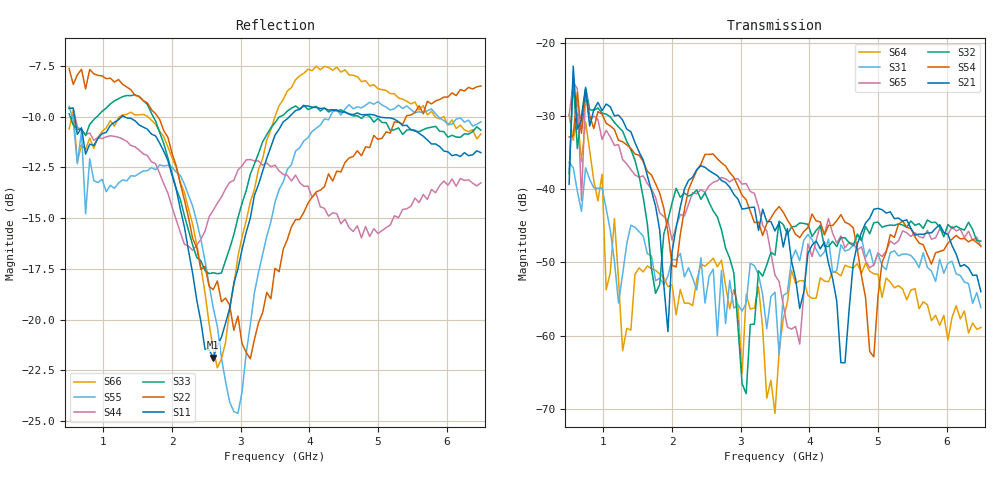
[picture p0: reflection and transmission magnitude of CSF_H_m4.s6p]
!Keysight Technologies,M9804A,MY58100912,A.14.10.03
!Date: Thursday, April 27, 2023 10:28:33
!Correction: S11(C  6-Port  )
!S12(C  6-Port  )
!S13(C  6-Port  )
!S14(C  6-Port  )
!S15(C  6-Port  )
!S16(C  6-Port  )
!S21(C  6-Port  )
!S22(C  6-Port  )
!S23(C  6-Port  )
!S24(C  6-Port  )
!S25(C  6-Port  )
!S26(C  6-Port  )
!S31(C  6-Port  )
!S32(C  6-Port  )
!S33(C  6-Port  )
!S34(C  6-Port  )
!S35(C  6-Port  )
!S36(C  6-Port  )
!S41(C  6-Port  )
!S42(C  6-Port  )
!S43(C  6-Port  )
!S44(C  6-Port  )
!S45(C  6-Port  )
!S46(C  6-Port  )
!S51(C  6-Port  )
!S52(C  6-Port  )
!S53(C  6-Port  )
!S54(C  6-Port  )
!S55(C  6-Port  )
!S56(C  6-Port  )
!S61(C  6-Port  )
!S62(C  6-Port  )
!S63(C  6-Port  )
!S64(C  6-Port  )
!S65(C  6-Port  )
!S66(C  6-Port  )
!S6P File: Measurement: :
# Hz S  RI  R 50
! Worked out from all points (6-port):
!   101 points, 500 MHz to 6.5 GHz, reference 50 ohm
!   strongest paths, dB at 500 MHz, 2 GHz, 3.5 GHz, 5 GHz, 6.5 GHz:
!     S21: -39.3, -48.5, -45.7, -42.6, -54.0
!     S54: -32.8, -50.4, -43.0, -54.7, -47.7
!     S32: -37.9, -41.9, -49.0, -44.5, -47.1
!     S65: -29.9, -46.9, -51.7, -48.7, -47.8
!     S31: -36.3, -49.5, -54.1, -48.8, -56.2
!     S64: -29.8, -53.0, -70.6, -51.6, -58.9
!   lowest |S11| = -21.9 dB at 2.6 GHz (marker M1), VSWR 1.18, Z = 42.8 + j1.97 ohm
!   |S11| at or under -10 dB: 579.2 MHz to 1.266 GHz (687.3 MHz wide, 74.5 % of centre); 1.304 GHz to 3.711 GHz (2.406 GHz wide, 96 % of centre); 5.002 GHz to end of sweep
